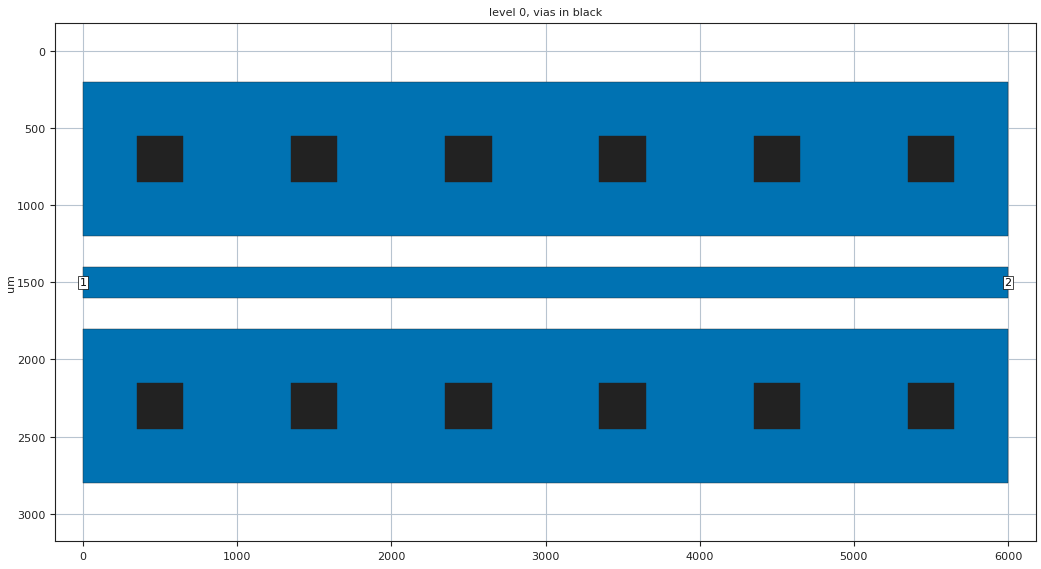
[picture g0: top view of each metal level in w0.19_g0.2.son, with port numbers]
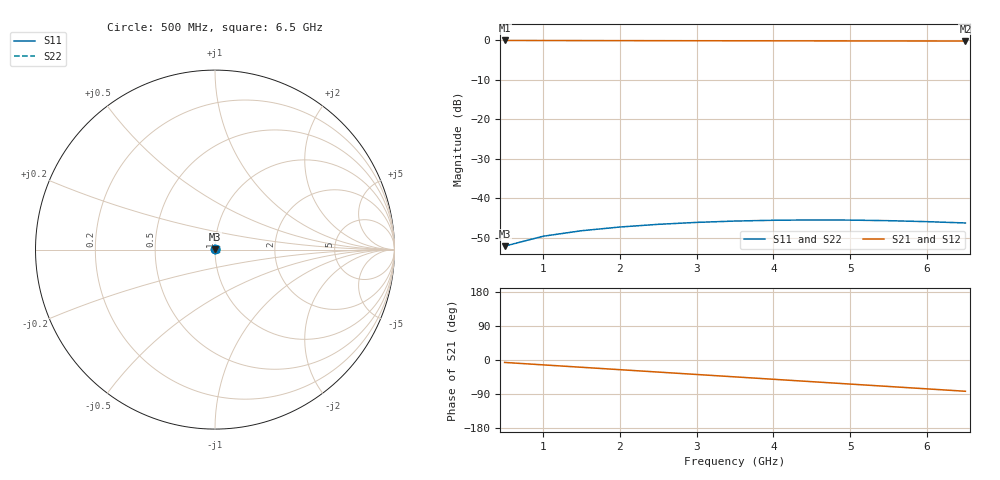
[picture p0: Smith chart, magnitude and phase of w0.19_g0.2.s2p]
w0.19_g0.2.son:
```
FTYP SONPROJ 1 ! Sonnet Project File
VER 19.54
HEADER
END HEADER
DIM
FREQ GHZ
IND NH
LNG UM
ANG DEG
CON /OH
CAP PF
RES OH
END DIM
FREQ
SWEEP 0.5 6.5 0.5
END FREQ
CONTROL
STD
OPTIONS  -d
SPEED 0
END CONTROL
GEO
TMET "Lossless" 0 SUP 0 0 0 0
BMET "Lossless" 0 SUP 0 0 0 0
MET "Cu35" 1 NOR 5.8e7 0 35
BOX 1 6000.0 3000.0 600 300 20 0
      1000.0 1 1 0 0 0 0 "Air"
      99.4 4.1000 1 0.0200 0 0 0 "PP3313"
POR1 STD
POLY 1 1
3
1 50 0 0 0 0.0 1500.0
POR1 STD
POLY 1 1
1
2 50 0 0 0 6000.0 1500.0
NUM 15
0 5 0 N 1 1 1 100 100 0 0 0 Y
0.0 1400.0
6000.0 1400.0
6000.0 1600.0
0.0 1600.0
0.0 1400.0
END
0 5 0 N 2 1 1 100 100 0 0 0 Y
0.0 200.0
6000.0 200.0
6000.0 1200.0
0.0 1200.0
0.0 200.0
END
0 5 0 N 3 1 1 100 100 0 0 0 Y
0.0 1800.0
6000.0 1800.0
6000.0 2800.0
0.0 2800.0
0.0 1800.0
END
VIA POLYGON
0 5 0 V 100 1 1 100 100 0 0 0 Y
TOLEVEL GND RING COVERS
350.0 550.0
650.0 550.0
650.0 850.0
350.0 850.0
350.0 550.0
END
VIA POLYGON
0 5 0 V 101 1 1 100 100 0 0 0 Y
TOLEVEL GND RING COVERS
350.0 2150.0
650.0 2150.0
650.0 2450.0
350.0 2450.0
350.0 2150.0
END
VIA POLYGON
0 5 0 V 102 1 1 100 100 0 0 0 Y
TOLEVEL GND RING COVERS
1350.0 550.0
1650.0 550.0
1650.0 850.0
1350.0 850.0
1350.0 550.0
END
VIA POLYGON
0 5 0 V 103 1 1 100 100 0 0 0 Y
TOLEVEL GND RING COVERS
1350.0 2150.0
1650.0 2150.0
1650.0 2450.0
1350.0 2450.0
1350.0 2150.0
END
VIA POLYGON
0 5 0 V 104 1 1 100 100 0 0 0 Y
TOLEVEL GND RING COVERS
2350.0 550.0
2650.0 550.0
2650.0 850.0
2350.0 850.0
2350.0 550.0
END
VIA POLYGON
0 5 0 V 105 1 1 100 100 0 0 0 Y
TOLEVEL GND RING COVERS
2350.0 2150.0
2650.0 2150.0
2650.0 2450.0
2350.0 2450.0
2350.0 2150.0
END
VIA POLYGON
0 5 0 V 106 1 1 100 100 0 0 0 Y
TOLEVEL GND RING COVERS
3350.0 550.0
3650.0 550.0
3650.0 850.0
3350.0 850.0
3350.0 550.0
END
VIA POLYGON
0 5 0 V 107 1 1 100 100 0 0 0 Y
TOLEVEL GND RING COVERS
3350.0 2150.0
3650.0 2150.0
3650.0 2450.0
3350.0 2450.0
3350.0 2150.0
END
VIA POLYGON
0 5 0 V 108 1 1 100 100 0 0 0 Y
TOLEVEL GND RING COVERS
4350.0 550.0
4650.0 550.0
4650.0 850.0
4350.0 850.0
4350.0 550.0
END
VIA POLYGON
0 5 0 V 109 1 1 100 100 0 0 0 Y
TOLEVEL GND RING COVERS
4350.0 2150.0
4650.0 2150.0
4650.0 2450.0
4350.0 2450.0
4350.0 2150.0
END
VIA POLYGON
0 5 0 V 110 1 1 100 100 0 0 0 Y
TOLEVEL GND RING COVERS
5350.0 550.0
5650.0 550.0
5650.0 850.0
5350.0 850.0
5350.0 550.0
END
VIA POLYGON
0 5 0 V 111 1 1 100 100 0 0 0 Y
TOLEVEL GND RING COVERS
5350.0 2150.0
5650.0 2150.0
5650.0 2450.0
5350.0 2450.0
5350.0 2150.0
END
END GEO
FILEOUT
TS D Y $BASENAME.s2p 15 S RI R 50.00000
END FILEOUT
```
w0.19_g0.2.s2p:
! Sonnet Data File
! From: em Version : 19.54.2026
! From Project: w0.19_g0.2
! Data is De-embedded
! Data File Written: 11/09/2026 23:37:27
!< HDATE 11/09/2026 23:36:44
!< MDATE 11/09/2026 23:36:44
# GHZ S RI R 50.00000
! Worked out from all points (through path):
!   13 points, 500 MHz to 6.5 GHz, reference 50 ohm
!   highest |S21| = -0.03 dB at 500 MHz (marker M1); lowest = -0.2 dB at 6.5 GHz (marker M2)
!   group delay of S21, straight-line fit = 35.2 ps
!   lowest |S11| = -52.1 dB at 500 MHz (marker M3), VSWR 1.00, Z = 50.1 + j0.209 ohm
!   |S11| at or under -10 dB: start of sweep to end of sweep
!   |S22| runs from -52.1 to -45.5 dB; largest |S21 - S12| = 1.1e-12
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0.5  0.00134 0.00209  0.9907 -0.1119  0.9907 -0.1119  0.00134 0.00209
1  0.00169 0.00284  0.9703 -0.2206  0.9703 -0.2206  0.00169 0.00284
1.5  0.00194 0.00337  0.9383 -0.3262  0.9383 -0.3262  0.00194 0.00337
2  0.00216 0.00375  0.8951 -0.4272  0.8951 -0.4272  0.00216 0.00375
2.5  0.00238 0.00403  0.8411 -0.5227  0.8411 -0.5227  0.00238 0.00403
3.5  0.00278 0.00434  0.7039 -0.6926  0.7039 -0.6926  0.00278 0.00434
4.5  0.00307 0.00435  0.5335 -0.8278  0.5335 -0.8278  0.00307 0.00435
5  0.00314 0.00427  0.4384 -0.8804  0.4384 -0.8804  0.00314 0.00427
5.5  0.00315 0.00415  0.3384 -0.9221  0.3384 -0.9221  0.00315 0.00415
6  0.00309 0.00401  0.2345 -0.9525  0.2345 -0.9525  0.00309 0.00401
6.5  0.00296 0.00387  0.1281 -0.9713  0.1281 -0.9713  0.00296 0.00387
